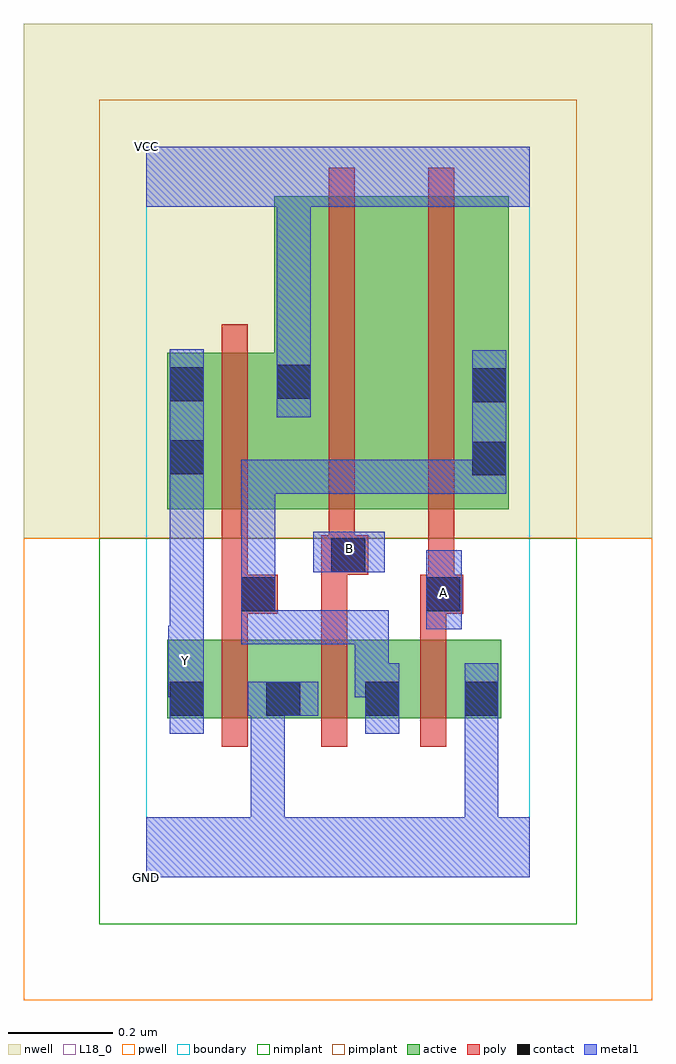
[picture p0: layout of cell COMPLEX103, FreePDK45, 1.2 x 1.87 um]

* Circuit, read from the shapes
.subckt COMPLEX103 A B GND VCC Y
M1 GND n1 Y VSUBS nfet w=0.15u l=0.05u
M2 n1 B GND VSUBS nfet w=0.15u l=0.05u
M3 GND A n1 VSUBS nfet w=0.15u l=0.05u
M4 VCC n1 Y n2 pfet w=0.3u l=0.05u
M5 n3 B VCC n2 pfet w=0.6u l=0.05u
M6 n1 A n3 n2 pfet w=0.6u l=0.05u
.ends

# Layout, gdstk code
import gdstk
lib = gdstk.Library(unit=1e-6, precision=1e-09)
def R(c, l, rs):  # rectangles x0, y0, x1, y1
    for r in rs: c.add(gdstk.rectangle(r[:2], r[2:], *l))
def A(c, l, x, y, w, h, nx, ny, dx, dy):  # array of equal rectangles
    R(c, l, [(x+i*dx, y+j*dy, x+i*dx+w, y+j*dy+h) for i in range(nx) for j in range(ny)])
active = (1, 0)
pwell = (2, 0)
nwell = (3, 0)
nimplant = (4, 0)
pimplant = (5, 0)
poly = (9, 0)
contact = (10, 0)
metal1 = (11, 0)
L18_0 = (18, 0)
boundary = (235, 0)

complex103 = lib.new_cell('COMPLEX103')
R(complex103, active, [(0.04,0.305,0.115,0.455), (0.04,0.305,0.3,0.455), (0.225,0.305,0.49,0.455), (0.225,0.305,0.3,0.397), (0.415,0.305,0.49,0.455), (0.415,0.305,0.68,0.455), (0.605,0.305,0.68,0.455), (0.04,0.705,0.32,1.005), (0.04,0.705,0.115,1.005), (0.245,0.705,0.47,1.305), (0.245,0.705,0.32,1.305), (0.47,0.705,0.695,1.305), (0.62,0.705,0.695,1.2)])
R(complex103, pwell, [(-0.235,-0.235,0.97,0.65)])
R(complex103, nwell, [(-0.235,0.65,0.97,1.635)])
R(complex103, nimplant, [(-0.09,-0.09,0.825,0.65)])
R(complex103, pimplant, [(-0.09,0.65,0.825,1.49)])
A(complex103, poly, 0.145, 0.25, 0.05, 0.26, 3, 1, 0.19, 0)
R(complex103, poly, [(0.145,0.46,0.195,0.555), (0.335,0.46,0.385,0.63), (0.525,0.46,0.575,0.555), (0.145,0.505,0.252,0.58), (0.525,0.505,0.607,0.58), (0.145,0.53,0.195,0.7), (0.54,0.53,0.59,0.7), (0.335,0.58,0.425,0.655), (0.35,0.605,0.4,0.7), (0.145,0.65,0.195,1.06), (0.35,0.65,0.4,1.36), (0.54,0.65,0.59,1.36)])
A(complex103, contact, 0.23, 0.31, 0.065, 0.065, 3, 1, 0.19, 0)
R(complex103, contact, [(0.045,0.31,0.11,0.375), (0.182,0.51,0.247,0.575), (0.537,0.51,0.602,0.575), (0.355,0.585,0.42,0.65), (0.625,0.77,0.69,0.835), (0.045,0.772,0.11,0.837), (0.625,0.91,0.69,0.975), (0.045,0.912,0.11,0.977), (0.25,0.917,0.315,0.982)])
R(complex103, metal1, [(0,0,0.735,0.115), (0.2,0.05,0.265,0.375), (0.61,0.05,0.675,0.115), (0.61,0.05,0.675,0.115), (0.61,0.05,0.675,0.115), (0.61,0.05,0.675,0.115), (0.61,0.05,0.675,0.34), (0.045,0.275,0.11,0.41), (0.42,0.275,0.485,0.41), (0.61,0.275,0.675,0.34), (0.61,0.275,0.675,0.34), (0.61,0.275,0.675,0.41), (0.195,0.31,0.33,0.375), (0.2,0.31,0.265,0.375), (0.2,0.31,0.265,0.375), (0.2,0.31,0.265,0.375), (0.2,0.31,0.265,0.375), (0.2,0.31,0.265,0.375), (0.2,0.31,0.265,0.375), (0.042,0.345,0.11,0.482), (0.045,0.345,0.11,0.41), (0.4,0.345,0.485,0.41), (0.4,0.345,0.465,0.512), (0.045,0.417,0.11,0.802), (0.182,0.447,0.247,0.512), (0.182,0.447,0.465,0.512), (0.182,0.447,0.247,0.61), (0.182,0.475,0.247,0.61), (0.537,0.475,0.605,0.627), (0.182,0.545,0.247,0.61), (0.182,0.545,0.247,0.61), (0.182,0.545,0.247,0.8), (0.32,0.585,0.457,0.662), (0.182,0.735,0.247,0.8), (0.182,0.735,0.385,0.8), (0.32,0.735,0.385,0.8), (0.32,0.735,0.385,0.8), (0.32,0.735,0.385,0.8), (0.32,0.735,0.69,0.8), (0.625,0.735,0.69,0.8), (0.625,0.735,0.69,0.8), (0.625,0.735,0.69,1.01), (0.045,0.737,0.11,1.012), (0.25,0.882,0.315,1.017), (0.25,0.952,0.315,1.35), (0,1.285,0.735,1.4)])
R(complex103, L18_0, [(0,0,0.735,0.115), (0.2,0.05,0.265,0.375), (0.61,0.05,0.675,0.115), (0.61,0.05,0.675,0.115), (0.61,0.05,0.675,0.115), (0.61,0.05,0.675,0.115), (0.61,0.05,0.675,0.34), (0.045,0.275,0.11,0.41), (0.61,0.275,0.675,0.41), (0.61,0.275,0.675,0.34), (0.61,0.275,0.675,0.34), (0.195,0.31,0.33,0.375), (0.2,0.31,0.265,0.375), (0.2,0.31,0.265,0.375), (0.2,0.31,0.265,0.375), (0.2,0.31,0.265,0.375), (0.2,0.31,0.265,0.375), (0.2,0.31,0.265,0.375), (0.042,0.345,0.11,0.482), (0.045,0.345,0.11,0.41), (0.042,0.382,0.107,0.447), (0.045,0.417,0.11,0.802), (0.537,0.475,0.605,0.627), (0.537,0.512,0.602,0.577), (0.32,0.585,0.457,0.662), (0.357,0.597,0.422,0.662), (0.045,0.737,0.11,1.012), (0.25,0.882,0.315,1.017), (0.25,0.952,0.315,1.35), (0,1.285,0.735,1.4)])
R(complex103, boundary, [(0,0,0.735,1.4)])
complex103.add(gdstk.Label('A', (0.57,0.545), layer=11, texttype=0))
complex103.add(gdstk.Label('B', (0.39,0.63), layer=11, texttype=0))
complex103.add(gdstk.Label('Y', (0.075,0.415), layer=11, texttype=0))
complex103.add(gdstk.Label('VCC', (0,1.4), layer=11, texttype=0))
complex103.add(gdstk.Label('GND', (0,0), layer=11, texttype=0))

lib.write_gds('COMPLEX103.gds')
